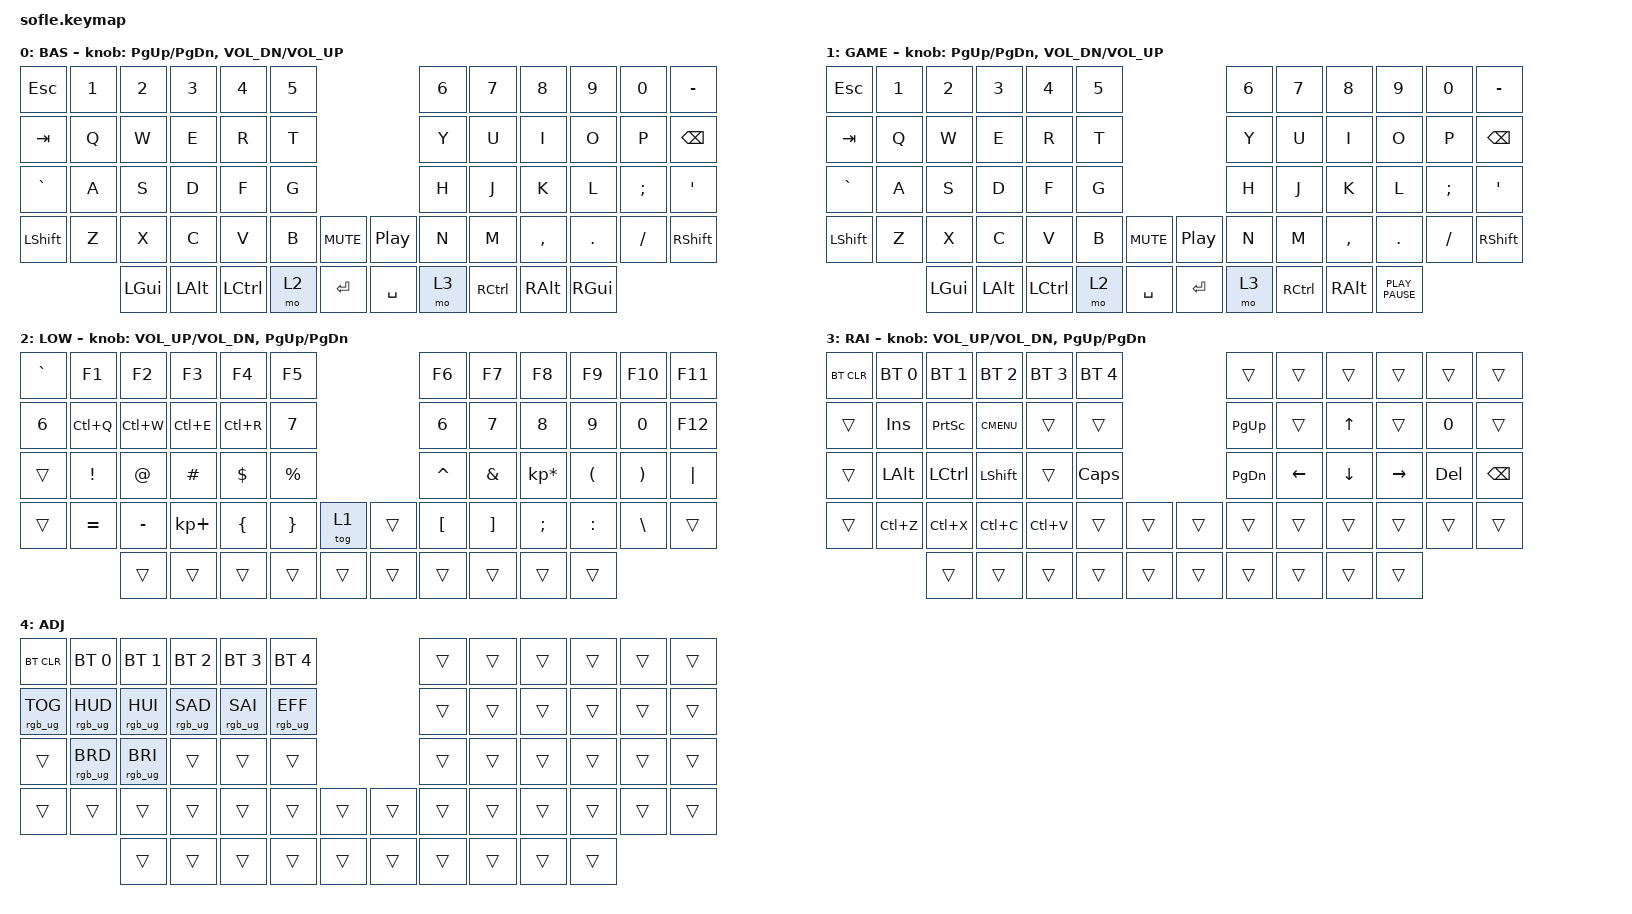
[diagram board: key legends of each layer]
/*
 * Copyright (c) 2020 The ZMK Contributors
 *
 * SPDX-License-Identifier: MIT
 */

#include <dt-bindings/zmk/mouse.h>
#include <behaviors.dtsi>
#include <dt-bindings/zmk/bt.h>
#include <dt-bindings/zmk/keys.h>
#include <dt-bindings/zmk/rgb.h>

/ {
    conditional_layers {
        compatible = "zmk,conditional-layers";

        adjust_layer {
            if-layers = <2 3>;
            then-layer = <4>;
        };
    };

    keymap {
        compatible = "zmk,keymap";

        default_layer {
            display-name = "BAS";

            // ------------------------------------------------------------------------------------------------------------
            // |  `    |  1  |  2  |  3   |  4   |  5   |                   |  6   |  7    |  8    |  9   |   0   |       |
            // |  ESC  |  Q  |  W  |  E   |  R   |  T   |                   |  Y   |  U    |  I    |  O   |   P   | BKSPC |
            // |  TAB  |  A  |  S  |  D   |  F   |  G   |                   |  H   |  J    |  K    |  L   |   ;   |   '   |
            // | SHIFT |  Z  |  X  |  C   |  V   |  B   |  MUTE  |  |       |  N   |  M    |  ,    |  .   |   /   | SHIFT |
            //               | GUI | ALT  | CTRL | LOWER|  ENTER |  | SPACE | RAISE| CTRL  | ALT   | GUI  |

            bindings = <
&kp ESC         &kp N1  &kp N2    &kp N3    &kp N4     &kp N5                                  &kp N6  &kp N7     &kp N8     &kp N9    &kp N0    &kp MINUS
&kp TAB         &kp Q   &kp W     &kp E     &kp R      &kp T                                   &kp Y   &kp U      &kp I      &kp O     &kp P     &kp BACKSPACE
&kp GRAVE       &kp A   &kp S     &kp D     &kp F      &kp G                                   &kp H   &kp J      &kp K      &kp L     &kp SEMI  &kp SQT
&kp LEFT_SHIFT  &kp Z   &kp X     &kp C     &kp V      &kp B   &kp C_MUTE    &kp C_PLAY_PAUSE  &kp N   &kp M      &kp COMMA  &kp DOT   &kp FSLH  &kp RSHFT
                        &kp LGUI  &kp LALT  &kp LCTRL  &mo 2   &kp ENTER     &kp SPACE         &mo 3   &kp RCTRL  &kp RALT   &kp RGUI
            >;

            sensor-bindings = <&inc_dec_kp PG_UP PG_DN  &inc_dec_kp C_VOL_DN C_VOL_UP>;
        };

        game_layer {
            display-name = "GAME";
            bindings = <
&kp ESC         &kp N1  &kp N2    &kp N3    &kp N4     &kp N5                                  &kp N6  &kp N7     &kp N8     &kp N9            &kp N0    &kp MINUS
&kp TAB         &kp Q   &kp W     &kp E     &kp R      &kp T                                   &kp Y   &kp U      &kp I      &kp O             &kp P     &kp BACKSPACE
&kp GRAVE       &kp A   &kp S     &kp D     &kp F      &kp G                                   &kp H   &kp J      &kp K      &kp L             &kp SEMI  &kp SQT
&kp LEFT_SHIFT  &kp Z   &kp X     &kp C     &kp V      &kp B   &kp C_MUTE    &kp C_PLAY_PAUSE  &kp N   &kp M      &kp COMMA  &kp DOT           &kp FSLH  &kp RSHFT
                        &kp LGUI  &kp LALT  &kp LCTRL  &mo 2   &kp SPACE     &kp ENTER         &mo 3   &kp RCTRL  &kp RALT   &kp K_PLAY_PAUSE
            >;

            sensor-bindings =
                <&inc_dec_kp PG_UP PG_DN>,
                <&inc_dec_kp C_VOL_DN C_VOL_UP>;
        };

        lower_layer {
            display-name = "LOW";

            // ------------------------------------------------------------------------------------------------------------
            // | `     |  F1 |  F2 |  F3  |  F4  |  F5  |                   |  F6  |  F7   |  F8   |  F9  |  F10  |  F11  |
            // | RAISE |   1 |   2 |   3  |   4  |   5  |                   |   6  |   7   |   8   |   9  |    0  |  F12  |
            // |       |  !  |  @  |  #   |  $   |  %   |                   |  ^   |  &    |  *    |  (   |   )   |   |   |
            // |       |  =  |  -  |  +   |  {   |  }   |        |  |       |  [   |  ]    |  ;    |  :   |   \   |       |
            //               |     |      |      |      |        |  |       |      |       |       |      |

            bindings = <
&kp GRAVE     &kp F1     &kp F2     &kp F3       &kp F4     &kp F5                       &kp F6     &kp F7    &kp F8           &kp F9     &kp F10   &kp F11
&kp NUMBER_6  &kp LC(Q)  &kp LC(W)  &kp LC(E)    &kp LC(R)  &kp N7                       &kp N6     &kp N7    &kp N8           &kp N9     &kp N0    &kp F12
&trans        &kp EXCL   &kp AT     &kp HASH     &kp DLLR   &kp PRCNT                    &kp CARET  &kp AMPS  &kp KP_MULTIPLY  &kp LPAR   &kp RPAR  &kp PIPE
&trans        &kp EQUAL  &kp MINUS  &kp KP_PLUS  &kp LBRC   &kp RBRC   &tog 1    &trans  &kp LBKT   &kp RBKT  &kp SEMI         &kp COLON  &kp BSLH  &trans
                         &trans     &trans       &trans     &trans     &trans    &trans  &trans     &trans    &trans           &trans
            >;

            sensor-bindings = <&inc_dec_kp C_VOL_UP C_VOL_DN &inc_dec_kp PG_UP PG_DN>;
        };

        raise_layer {
            display-name = "RAI";

            // ------------------------------------------------------------------------------------------------------------
            // |BTCLR| BT1  | BT2  |  BT3  |  BT4  |  BT5 |                |      |      |       |      |       |       |
            // |     | INS  | PSCR | GUI   |       |      |                | PGUP |      |       |      |       |       |
            // |     | ALT  | CTRL | SHIFT |       | CAPS |                |  <-  |   v  |   ^   |  ->  |  DEL  | BKSPC |
            // |     | UNDO | CUT  | COPY  | PASTE |      |      |  |      |      |      |       |      |       |       |
            //              |      |       |       |      |      |  |      |      |      |       |      |

            bindings = <
&bt BT_CLR  &bt BT_SEL 0  &bt BT_SEL 1  &bt BT_SEL 2  &bt BT_SEL 3  &bt BT_SEL 4                    &trans         &trans    &trans    &trans     &trans   &trans
&trans      &kp INS       &kp PSCRN     &kp K_CMENU   &trans        &trans                          &kp PG_UP      &trans    &kp UP    &trans     &kp N0   &trans
&trans      &kp LALT      &kp LCTRL     &kp LSHFT     &trans        &kp CLCK                        &kp PAGE_DOWN  &kp LEFT  &kp DOWN  &kp RIGHT  &kp DEL  &kp BSPC
&trans      &kp LC(Z)     &kp LC(X)     &kp LC(C)     &kp LC(V)     &trans        &trans    &trans  &trans         &trans    &trans    &trans     &trans   &trans
                          &trans        &trans        &trans        &trans        &trans    &trans  &trans         &trans    &trans    &trans
            >;

            sensor-bindings = <&inc_dec_kp C_VOL_UP C_VOL_DN &inc_dec_kp PG_UP PG_DN>;
        };

        adjust_layer {
            display-name = "ADJ";

            // ----------------------------------------------------------------------------------------------------------------------------
            // | BTCLR  |  BT1    |  BT2    |   BT3   |   BT4   |   BT5   |                  |      |      |       |      |       |       |
            // | EXTPWR | RGB_HUD | RGB_HUI | RGB_SAD | RGB_SAI | RGB_EFF |                  |      |      |       |      |       |       |
            // |        | RGB_BRD | RGB_BRI |         |         |         |                  |      |      |       |      |       |       |
            // |        |         |         |         |         |         | RGB_TOG | |      |      |      |       |      |       |       |
            //                    |         |         |         |         |         | |      |      |      |       |      |

            bindings = <
&bt BT_CLR       &bt BT_SEL 0     &bt BT_SEL 1     &bt BT_SEL 2     &bt BT_SEL 3     &bt BT_SEL 4                       &trans  &trans  &trans  &trans  &trans  &trans
&rgb_ug RGB_TOG  &rgb_ug RGB_HUD  &rgb_ug RGB_HUI  &rgb_ug RGB_SAD  &rgb_ug RGB_SAI  &rgb_ug RGB_EFF                    &trans  &trans  &trans  &trans  &trans  &trans
&trans           &rgb_ug RGB_BRD  &rgb_ug RGB_BRI  &trans           &trans           &trans                             &trans  &trans  &trans  &trans  &trans  &trans
&trans           &trans           &trans           &trans           &trans           &trans           &trans    &trans  &trans  &trans  &trans  &trans  &trans  &trans
                                  &trans           &trans           &trans           &trans           &trans    &trans  &trans  &trans  &trans  &trans
            >;
        };
    };
};
